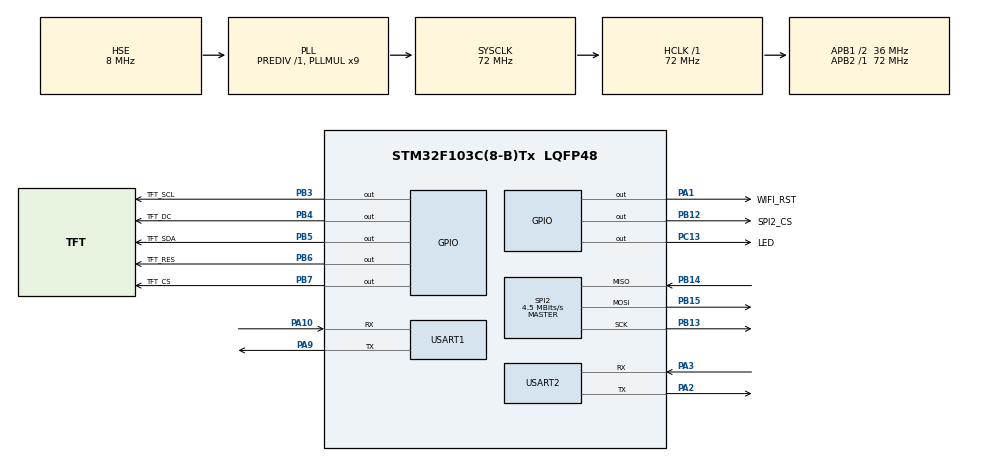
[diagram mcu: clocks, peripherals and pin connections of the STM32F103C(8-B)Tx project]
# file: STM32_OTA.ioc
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Dma.Request0=USART2_RX
Dma.USART2_RX.0.Direction=DMA_PERIPH_TO_MEMORY
Dma.USART2_RX.0.Instance=DMA1_Channel6
Dma.USART2_RX.0.MemDataAlignment=DMA_MDATAALIGN_BYTE
Dma.USART2_RX.0.MemInc=DMA_MINC_ENABLE
Dma.USART2_RX.0.Mode=DMA_NORMAL
Dma.USART2_RX.0.PeriphDataAlignment=DMA_PDATAALIGN_BYTE
Dma.USART2_RX.0.PeriphInc=DMA_PINC_DISABLE
Dma.USART2_RX.0.Priority=DMA_PRIORITY_LOW
Mcu.Family=STM32F1
Mcu.Name=STM32F103C(8-B)Tx
Mcu.Package=LQFP48
NVIC.DMA1_Channel6_IRQn=true\:0\:0\:false\:false\:true\:false\:true\:true
NVIC.PriorityGroup=NVIC_PRIORITYGROUP_4
NVIC.USART1_IRQn=true\:0\:0\:false\:false\:true\:true\:true\:true
NVIC.USART2_IRQn=true\:0\:0\:false\:false\:true\:true\:true\:true
PA1.GPIO_Label=WIFI_RST
PA1.PinState=GPIO_PIN_SET
PA1.Signal=GPIO_Output
PA10.Mode=Asynchronous
PA10.Signal=USART1_RX
PA13.Mode=Serial_Wire
PA13.Signal=SYS_JTMS-SWDIO
PA14.Mode=Serial_Wire
PA14.Signal=SYS_JTCK-SWCLK
PA2.Mode=Asynchronous
PA2.Signal=USART2_TX
PA3.Mode=Asynchronous
PA3.Signal=USART2_RX
PA9.Mode=Asynchronous
PA9.Signal=USART1_TX
PB12.GPIO_Label=SPI2_CS
PB12.Signal=GPIO_Output
PB13.Mode=Full_Duplex_Master
PB13.Signal=SPI2_SCK
PB14.Mode=Full_Duplex_Master
PB14.Signal=SPI2_MISO
PB15.Mode=Full_Duplex_Master
PB15.Signal=SPI2_MOSI
PB3.GPIO_Label=TFT_SCL
PB3.Signal=GPIO_Output
PB4.GPIO_Label=TFT_DC
PB4.Signal=GPIO_Output
PB5.GPIO_Label=TFT_SDA
PB5.Signal=GPIO_Output
PB6.GPIO_Label=TFT_RES
PB6.Signal=GPIO_Output
PB7.GPIO_Label=TFT_CS
PB7.Signal=GPIO_Output
PC13-TAMPER-RTC.GPIO_Label=LED
PC13-TAMPER-RTC.Signal=GPIO_Output
PC14-OSC32_IN.Mode=LSE-External-Oscillator
PC14-OSC32_IN.Signal=RCC_OSC32_IN
PC15-OSC32_OUT.Mode=LSE-External-Oscillator
PC15-OSC32_OUT.Signal=RCC_OSC32_OUT
PD0-OSC_IN.Mode=HSE-External-Oscillator
PD0-OSC_IN.Signal=RCC_OSC_IN
PD1-OSC_OUT.Mode=HSE-External-Oscillator
PD1-OSC_OUT.Signal=RCC_OSC_OUT
ProjectManager.HeapSize=0x200
ProjectManager.StackSize=0x400
ProjectManager.TargetToolchain=MDK-ARM V5.32
RCC.AHBFreq_Value=72000000
RCC.APB1CLKDivider=RCC_HCLK_DIV2
RCC.APB1Freq_Value=36000000
RCC.APB1TimFreq_Value=72000000
RCC.APB2Freq_Value=72000000
RCC.APB2TimFreq_Value=72000000
RCC.HCLKFreq_Value=72000000
RCC.PLLMUL=RCC_PLL_MUL9
RCC.PLLSourceVirtual=RCC_PLLSOURCE_HSE
RCC.SYSCLKFreq_VALUE=72000000
RCC.SYSCLKSource=RCC_SYSCLKSOURCE_PLLCLK
RCC.USBFreq_Value=72000000
SPI2.BaudRatePrescaler=SPI_BAUDRATEPRESCALER_8
SPI2.CalculateBaudRate=4.5 MBits/s
SPI2.Direction=SPI_DIRECTION_2LINES
SPI2.Mode=SPI_MODE_MASTER
SPI2.VirtualType=VM_MASTER
USART1.VirtualMode=VM_ASYNC
USART2.VirtualMode=VM_ASYNC
board=custom

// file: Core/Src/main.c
/* USER CODE BEGIN Header */
/**
  ******************************************************************************
  * @file           : main.c
  * @brief          : Main program body
  ******************************************************************************
  * @attention
  *
  * Copyright (c) 2024 STMicroelectronics.
  * All rights reserved.
  *
  * This software is licensed under terms that can be found in the LICENSE file
  * in the root directory of this software component.
  * If no LICENSE file comes with this software, it is provided AS-IS.
  *
  ******************************************************************************
  */
/* USER CODE END Header */
#include "main.h"
#include "dma.h"
#include "spi.h"
#include "usart.h"
#include "gpio.h"

/* USER CODE BEGIN Includes */
#include <stdio.h>
#include <stdint.h>
#include "w25qxx.h"
#include "lcd_init.h"
#include "lcd.h"
#include "bootloader.h"
#include "myflash.h"
#include "store.h"
/* USER CODE END Includes */

/* USER CODE BEGIN PV */

uint8_t wData[0x100];   //写缓存数组
uint8_t rData[0x100];   //读缓存数组
uint8_t ID[4];          //设备ID缓存数组
uint32_t i;

OTA_Info OTA_Info_t;
UpData_Info UpData_Info_t;

uint32_t boot_startflag;
/* USER CODE END PV */

void SystemClock_Config(void);

int main(void)
{

    /* MCU Configuration--------------------------------------------------------*/

    /* Reset of all peripherals, Initializes the Flash interface and the Systick. */
    HAL_Init();

    /* Configure the system clock */
    SystemClock_Config();

    /* Initialize all configured peripherals */
    MX_GPIO_Init();
    MX_DMA_Init();
    MX_USART1_UART_Init();
    MX_USART2_UART_Init();
    MX_SPI2_Init();
    /* USER CODE BEGIN 2 */
    __HAL_UART_ENABLE_IT(&huart2,UART_IT_IDLE);
    HAL_UART_Receive_DMA(&huart2,WIFI_RX_Data_t.rxdata_in->start,WIFI_RX_MAX);
    BSP_W25Qx_Init();
    LCD_Init();//LCD初始化
    LCD_Fill(0,0,LCD_W,LCD_H,WHITE);
    LCD_ShowString(40,0,(uint8_t *)"B side",RED,WHITE,16,0);
    HAL_GPIO_WritePin(WIFI_RST_GPIO_Port,WIFI_RST_Pin,GPIO_PIN_RESET);
    HAL_GPIO_WritePin(LED_GPIO_Port,LED_Pin,GPIO_PIN_SET);
    /* USER CODE END 2 */

    //writeota_flag(0x1034);
    //writeota_flag(OTA_UPDATA_STATUS);
    for(uint8_t i=0; i<11; i++)
        OTA_Info_t.firelen[i]=0xff;
    bootloader_judge();
    /* Infinite loop */
    /* USER CODE BEGIN WHILE */
    while (1)
    {
        if(WIFI_RX_Data_t.rxdata_out != WIFI_RX_Data_t.rxdata_in)
        {
            bootloader_event(WIFI_RX_Data_t.rxdata_out->start,WIFI_RX_Data_t.rxdata_out->end - WIFI_RX_Data_t.rxdata_out->start +1);
            WIFI_RX_Data_t.rxdata_out++;
            if(WIFI_RX_Data_t.rxdata_out == WIFI_RX_Data_t.rxdata_end)
            {
                WIFI_RX_Data_t.rxdata_out = &WIFI_RX_Data_t.rxdata_block[0];
            }

        }

        if(boot_startflag & UPDATA_A_FLAG)
        {
            wifi_printf("长度%d字节",OTA_Info_t.firelen[UpData_Info_t.W25Q32_BlockNumber]);
            if(0 == OTA_Info_t.firelen[UpData_Info_t.W25Q32_BlockNumber] % 4)
            {
                for(uint8_t i=0; i<OTA_Info_t.firelen[UpData_Info_t.W25Q32_BlockNumber]/STM32_PAGE_SIZES; i++)
                {
                    BSP_W25Qx_Erase_Blocks(STM32_A_START_PAGE_NUM,STM32_A_PAGE_NUM);
                    BSP_W25Qx_Read(UpData_Info_t.Updatabuff,i*1024+UpData_Info_t.W25Q32_BlockNumber*64*1024,STM32_PAGE_SIZES);
                    BSP_W25Qx_Write_Blocks(STM32_FLASH_START_ADDR + i * STM32_PAGE_SIZES,(uint32_t *)UpData_Info_t.Updatabuff,STM32_PAGE_SIZES);
                }
                if(OTA_Info_t.firelen[UpData_Info_t.W25Q32_BlockNumber] % 1024 == 0)
                {
                    BSP_W25Qx_Read(UpData_Info_t.Updatabuff,i*1024+UpData_Info_t.W25Q32_BlockNumber*64*1024,OTA_Info_t.firelen[UpData_Info_t.W25Q32_BlockNumber] % 1024);
                    BSP_W25Qx_Write_Blocks(STM32_FLASH_START_ADDR + i * STM32_PAGE_SIZES,(uint32_t *)UpData_Info_t.Updatabuff,OTA_Info_t.firelen[UpData_Info_t.W25Q32_BlockNumber] % 1024);
                }
                if(0 == OTA_Info_t.firelen[UpData_Info_t.W25Q32_BlockNumber])
                {
                    writeota_flag(0);
                }
                NVIC_SystemReset();
            }
            else
            {
                wifi_printf("长度错误\r\n");
                boot_startflag &=~ UPDATA_A_FLAG;
            }

        }
        /* USER CODE END WHILE */

    }
}

void SystemClock_Config(void)
{
    RCC_OscInitTypeDef RCC_OscInitStruct = {0};
    RCC_ClkInitTypeDef RCC_ClkInitStruct = {0};

    /** Initializes the RCC Oscillators according to the specified parameters
    * in the RCC_OscInitTypeDef structure.
    */
    RCC_OscInitStruct.OscillatorType = RCC_OSCILLATORTYPE_HSE;
    RCC_OscInitStruct.HSEState = RCC_HSE_ON;
    RCC_OscInitStruct.HSEPredivValue = RCC_HSE_PREDIV_DIV1;
    RCC_OscInitStruct.HSIState = RCC_HSI_ON;
    RCC_OscInitStruct.PLL.PLLState = RCC_PLL_ON;
    RCC_OscInitStruct.PLL.PLLSource = RCC_PLLSOURCE_HSE;
    RCC_OscInitStruct.PLL.PLLMUL = RCC_PLL_MUL9;
    if (HAL_RCC_OscConfig(&RCC_OscInitStruct) != HAL_OK)
    {
        Error_Handler();
    }

    /** Initializes the CPU, AHB and APB buses clocks
    */
    RCC_ClkInitStruct.ClockType = RCC_CLOCKTYPE_HCLK|RCC_CLOCKTYPE_SYSCLK
                                  |RCC_CLOCKTYPE_PCLK1|RCC_CLOCKTYPE_PCLK2;
    RCC_ClkInitStruct.SYSCLKSource = RCC_SYSCLKSOURCE_PLLCLK;
    RCC_ClkInitStruct.AHBCLKDivider = RCC_SYSCLK_DIV1;
    RCC_ClkInitStruct.APB1CLKDivider = RCC_HCLK_DIV2;
    RCC_ClkInitStruct.APB2CLKDivider = RCC_HCLK_DIV1;

    if (HAL_RCC_ClockConfig(&RCC_ClkInitStruct, FLASH_LATENCY_2) != HAL_OK)
    {
        Error_Handler();
    }
}

void Error_Handler(void)
{
    __disable_irq();
    while (1)
    {
    }
}

//        if(WIFI_RX_Data_t.rxdata_out != WIFI_RX_Data_t.rxdata_in)
//        {
//            wifi_printf("本次收到了%d字节数据\r\n",WIFI_RX_Data_t.rxdata_out->end -WIFI_RX_Data_t.rxdata_out->start+1);
//            for(uint8_t i=0; i<WIFI_RX_Data_t.rxdata_out->end -WIFI_RX_Data_t.rxdata_out->start+1; i++)
//            {
//                wifi_printf("%c",WIFI_RX_Data_t.rxdata_out->start[i]);
//            }
//            wifi_printf("\r\n");
//            WIFI_RX_Data_t.rxdata_out++;
//            if(WIFI_RX_Data_t.rxdata_out == WIFI_RX_Data_t.rxdata_end)
//            {
//                WIFI_RX_Data_t.rxdata_out = &WIFI_RX_Data_t.rxdata_block[0];
//            }

//        }

//only for debug
